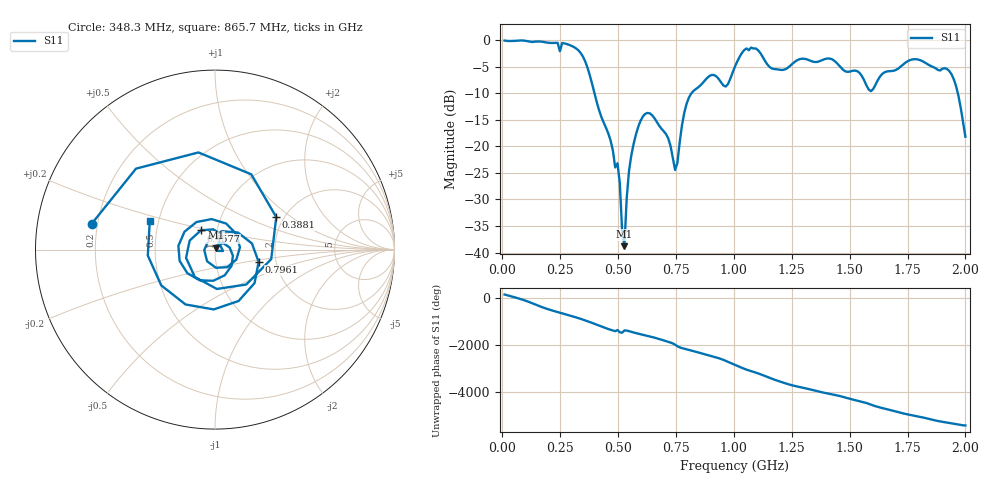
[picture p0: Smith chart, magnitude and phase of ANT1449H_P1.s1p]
!Created with skrf (http://scikit-rf.org).
# Hz S RI R 50.0
!freq ReS11 ImS11
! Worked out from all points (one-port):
!   201 points, 10 MHz to 2 GHz, reference 50 ohm
!   lowest |S11| = -38.8 dB at 527.4 MHz (marker M1), VSWR 1.02, Z = 50.4 + j1.07 ohm
!   |S11| at or under -10 dB: 398.3 MHz to 816.6 MHz (418.4 MHz wide, 68.9 % of centre); 1.967 GHz to end of sweep
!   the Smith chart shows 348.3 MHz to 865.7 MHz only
!   S11 on the Smith chart (normalised r, x): 348.3 MHz: 0.18, +0.10; 388.1 MHz: 1.82, +0.78; 457.8 MHz: 0.84, +0.18; 796 MHz: 1.62, -0.24; 865.7 MHz: 0.45, +0.17
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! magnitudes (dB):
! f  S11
! 10 MHz  -0.1
! 258.8 MHz  -0.5
! 348.3 MHz  -3.1
! 388.1 MHz  -8.3
! 457.8 MHz  -17.5
! 507.5 MHz  -26.9
! 517.5 MHz  -35.8
! 527.4 MHz  -38.8
! 537.4 MHz  -29.7
! 547.3 MHz  -24.6
! 607 MHz  -14.4
! 656.8 MHz  -14.7
! 716.5 MHz  -18.5
! 746.3 MHz  -24.4
! 756.2 MHz  -23.1
! 796 MHz  -11.9
! 865.7 MHz  -8.0
! 965.2 MHz  -8.7
! 1.005 GHz  -4.9
! 1.075 GHz  -1.4
! 1.164 GHz  -5.3
! 1.254 GHz  -4.4
! 1.502 GHz  -5.9
! 1.592 GHz  -9.6
! 1.751 GHz  -3.9
! 1.93 GHz  -5.8
! 1.96 GHz  -8.7
! 2 GHz  -18.2
